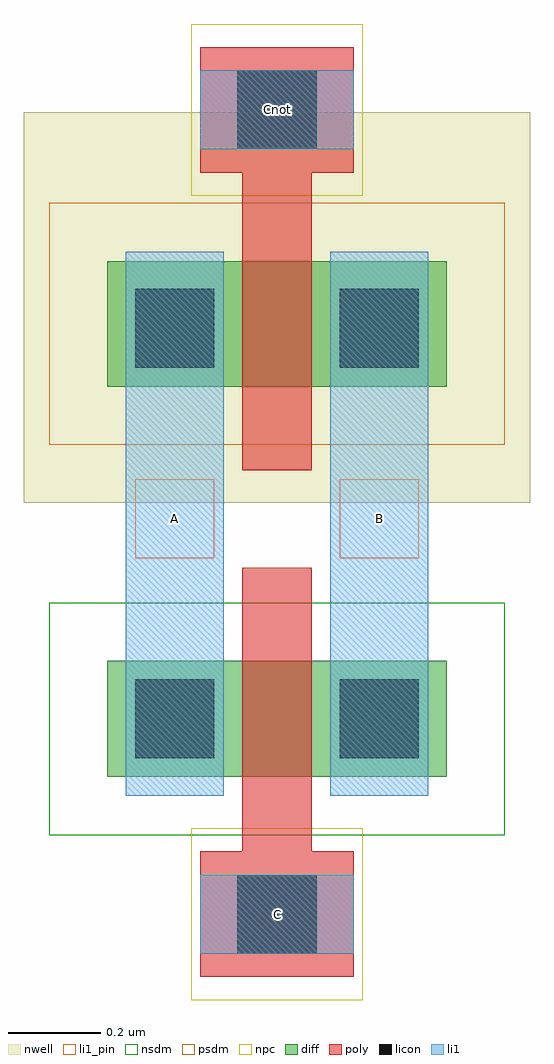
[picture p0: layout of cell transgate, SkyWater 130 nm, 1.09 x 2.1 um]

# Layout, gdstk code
import gdstk
lib = gdstk.Library(unit=1e-6, precision=1e-09)
def R(c, l, rs):  # rectangles x0, y0, x1, y1
    for r in rs: c.add(gdstk.rectangle(r[:2], r[2:], *l))
nwell = (64, 20)
diff = (65, 20)
poly = (66, 20)
licon = (66, 44)
li1_pin = (67, 16)
li1 = (67, 20)
nsdm = (93, 44)
psdm = (94, 20)
npc = (95, 20)

transgate = lib.new_cell('transgate')
R(transgate, nwell, [(-0.34,0.29,0.75,1.13)])
R(transgate, diff, [(-0.16,-0.3,0.57,-0.05), (-0.16,0.54,0.57,0.81)])
R(transgate, poly, [(0.04,-0.73,0.37,-0.46), (0.13,-0.46,0.28,0.15), (0.13,0.36,0.28,1), (0.04,1,0.37,1.27)])
R(transgate, licon, [(0.12,-0.68,0.29,-0.51), (-0.1,-0.26,0.07,-0.09), (0.34,-0.26,0.51,-0.09), (-0.1,0.58,0.07,0.75), (0.34,0.58,0.51,0.75), (0.12,1.05,0.29,1.22)])
R(transgate, li1_pin, [(0.12,-0.68,0.29,-0.51), (-0.1,0.17,0.07,0.34), (0.34,0.17,0.51,0.34), (0.12,1.05,0.29,1.22)])
R(transgate, li1, [(0.04,-0.68,0.37,-0.51), (-0.12,-0.34,0.09,0.83), (0.32,-0.34,0.53,0.83), (0.04,1.05,0.37,1.22)])
R(transgate, nsdm, [(-0.285,-0.425,0.695,0.075)])
R(transgate, psdm, [(-0.285,0.415,0.695,0.935)])
R(transgate, npc, [(0.02,-0.78,0.39,-0.41), (0.02,0.95,0.39,1.32)])
transgate.add(gdstk.Label('B', (0.425,0.255), layer=67, texttype=16))
transgate.add(gdstk.Label('A', (-0.015,0.255), layer=67, texttype=16))
transgate.add(gdstk.Label('C', (0.205,-0.595), layer=67, texttype=16))
transgate.add(gdstk.Label('Cnot', (0.205,1.135), layer=67, texttype=16))

lib.write_gds('transgate.gds')
